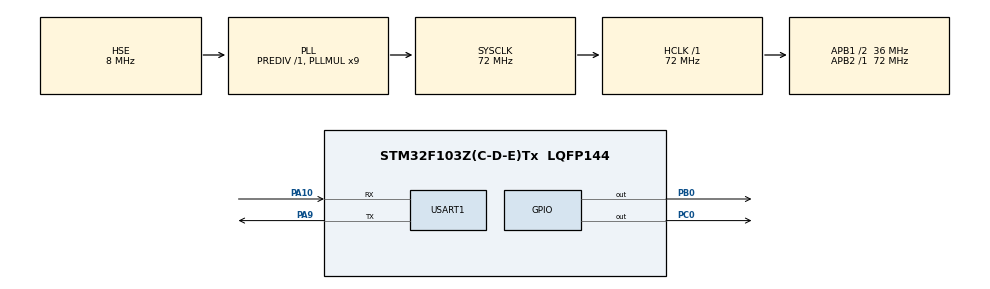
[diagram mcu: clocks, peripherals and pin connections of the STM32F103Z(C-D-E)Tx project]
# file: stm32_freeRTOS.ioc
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FREERTOS.Tasks01=defaultTask,24,128,StartDefaultTask,Default,NULL,Dynamic,NULL,NULL
Mcu.Family=STM32F1
Mcu.Name=STM32F103Z(C-D-E)Tx
Mcu.Package=LQFP144
NVIC.PriorityGroup=NVIC_PRIORITYGROUP_4
NVIC.TIM4_IRQn=true\:15\:0\:false\:false\:true\:false\:false\:true\:true
NVIC.TimeBase=TIM4_IRQn
NVIC.TimeBaseIP=TIM4
OSC_IN.Mode=HSE-External-Oscillator
OSC_IN.Signal=RCC_OSC_IN
OSC_OUT.Mode=HSE-External-Oscillator
OSC_OUT.Signal=RCC_OSC_OUT
PA10.Mode=Asynchronous
PA10.Signal=USART1_RX
PA13.Mode=Serial_Wire
PA13.Signal=SYS_JTMS-SWDIO
PA14.Mode=Serial_Wire
PA14.Signal=SYS_JTCK-SWCLK
PA9.Mode=Asynchronous
PA9.Signal=USART1_TX
PB0.GPIO_Speed=GPIO_SPEED_FREQ_MEDIUM
PB0.Signal=GPIO_Output
PC0.GPIO_Speed=GPIO_SPEED_FREQ_MEDIUM
PC0.Signal=GPIO_Output
PC14-OSC32_IN.Mode=LSE-External-Oscillator
PC14-OSC32_IN.Signal=RCC_OSC32_IN
PC15-OSC32_OUT.Mode=LSE-External-Oscillator
PC15-OSC32_OUT.Signal=RCC_OSC32_OUT
ProjectManager.HeapSize=0x200
ProjectManager.StackSize=0x400
ProjectManager.TargetToolchain=Makefile
RCC.AHBFreq_Value=72000000
RCC.APB1CLKDivider=RCC_HCLK_DIV2
RCC.APB1Freq_Value=36000000
RCC.APB1TimFreq_Value=72000000
RCC.APB2Freq_Value=72000000
RCC.APB2TimFreq_Value=72000000
RCC.HCLKFreq_Value=72000000
RCC.PLLMUL=RCC_PLL_MUL9
RCC.PLLSourceVirtual=RCC_PLLSOURCE_HSE
RCC.SYSCLKFreq_VALUE=72000000
RCC.SYSCLKSource=RCC_SYSCLKSOURCE_PLLCLK
RCC.USBFreq_Value=72000000
USART1.VirtualMode=VM_ASYNC
VP_FREERTOS_VS_CMSIS_V2.Mode=CMSIS_V2
VP_SYS_VS_tim4.Mode=TIM4
board=custom

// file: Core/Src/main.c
/* USER CODE BEGIN Header */
/**
 ******************************************************************************
 * @file           : main.c
 * @brief          : Main program body
 ******************************************************************************
 * @attention
 *
 * Copyright (c) 2022 STMicroelectronics.
 * All rights reserved.
 *
 * This software is licensed under terms that can be found in the LICENSE file
 * in the root directory of this software component.
 * If no LICENSE file comes with this software, it is provided AS-IS.
 *
 ******************************************************************************
 */
/* USER CODE END Header */
#include "main.h"
#include "cmsis_os.h"
#include "usart.h"
#include "gpio.h"

/* USER CODE BEGIN PD */
#ifdef __ARMCC_VERSION
#    define PUTCHAR_PROTOTYPE int fputc(int ch, FILE *f)
#else
#    define PUTCHAR_PROTOTYPE int __io_putchar(int ch)
#endif
/* USER CODE END PD */

void SystemClock_Config(void);
void MX_FREERTOS_Init(void);

int main(void)
{

    /* MCU Configuration--------------------------------------------------------*/

    /* Reset of all peripherals, Initializes the Flash interface and the Systick. */
    HAL_Init();

    /* Configure the system clock */
    SystemClock_Config();

    /* Initialize all configured peripherals */
    MX_GPIO_Init();
    MX_USART1_UART_Init();

    /* Init scheduler */
    osKernelInitialize(); /* Call init function for freertos objects (in freertos.c) */
    MX_FREERTOS_Init();

    /* Start scheduler */
    osKernelStart();

    /* We should never get here as control is now taken by the scheduler */
    /* Infinite loop */
    while (1) {

    }
}

void SystemClock_Config(void)
{
    RCC_OscInitTypeDef RCC_OscInitStruct = {0};
    RCC_ClkInitTypeDef RCC_ClkInitStruct = {0};

    /** Initializes the RCC Oscillators according to the specified parameters
     * in the RCC_OscInitTypeDef structure.
     */
    RCC_OscInitStruct.OscillatorType = RCC_OSCILLATORTYPE_HSE;
    RCC_OscInitStruct.HSEState = RCC_HSE_ON;
    RCC_OscInitStruct.HSEPredivValue = RCC_HSE_PREDIV_DIV1;
    RCC_OscInitStruct.HSIState = RCC_HSI_ON;
    RCC_OscInitStruct.PLL.PLLState = RCC_PLL_ON;
    RCC_OscInitStruct.PLL.PLLSource = RCC_PLLSOURCE_HSE;
    RCC_OscInitStruct.PLL.PLLMUL = RCC_PLL_MUL9;
    if (HAL_RCC_OscConfig(&RCC_OscInitStruct) != HAL_OK) {
        Error_Handler();
    }

    /** Initializes the CPU, AHB and APB buses clocks
     */
    RCC_ClkInitStruct.ClockType = RCC_CLOCKTYPE_HCLK | RCC_CLOCKTYPE_SYSCLK | RCC_CLOCKTYPE_PCLK1 | RCC_CLOCKTYPE_PCLK2;
    RCC_ClkInitStruct.SYSCLKSource = RCC_SYSCLKSOURCE_PLLCLK;
    RCC_ClkInitStruct.AHBCLKDivider = RCC_SYSCLK_DIV1;
    RCC_ClkInitStruct.APB1CLKDivider = RCC_HCLK_DIV2;
    RCC_ClkInitStruct.APB2CLKDivider = RCC_HCLK_DIV1;

    if (HAL_RCC_ClockConfig(&RCC_ClkInitStruct, FLASH_LATENCY_2) != HAL_OK) {
        Error_Handler();
    }
}

void HAL_TIM_PeriodElapsedCallback(TIM_HandleTypeDef *htim)
{
    if (htim->Instance == TIM4) {
        HAL_IncTick();
    }
}

void Error_Handler(void)
{
    __disable_irq();
    while (1) {
    }
}

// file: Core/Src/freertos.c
/* USER CODE BEGIN Header */
/**
 ******************************************************************************
 * File Name          : freertos.c
 * Description        : Code for freertos applications
 ******************************************************************************
 * @attention
 *
 * Copyright (c) 2022 STMicroelectronics.
 * All rights reserved.
 *
 * This software is licensed under terms that can be found in the LICENSE file
 * in the root directory of this software component.
 * If no LICENSE file comes with this software, it is provided AS-IS.
 *
 ******************************************************************************
 */
/* USER CODE END Header */

#include "FreeRTOS.h"
#include "task.h"
#include "main.h"
#include "cmsis_os.h"

/* USER CODE BEGIN Includes */
#include "stdio.h"
/* USER CODE END Includes */

/* Definitions for defaultTask */
osThreadId_t defaultTaskHandle;
const osThreadAttr_t defaultTask_attributes = {
    .name = "defaultTask",
    .stack_size = 128 * 4,
    .priority = (osPriority_t)osPriorityNormal,
};

/* USER CODE BEGIN FunctionPrototypes */
void vLED_1_Task(void *pvParameters);
void vLED_2_Task(void *pvParameters);

/* USER CODE END FunctionPrototypes */

void StartDefaultTask(void *argument);

void MX_FREERTOS_Init(void); /* (MISRA C 2004 rule 8.1) */

void MX_FREERTOS_Init(void)
{

    /* Create the thread(s) */
    /* creation of defaultTask */
    defaultTaskHandle = osThreadNew(StartDefaultTask, NULL, &defaultTask_attributes);

    /* USER CODE BEGIN RTOS_THREADS */
    /* add threads, ... */
    xTaskCreate(vLED_1_Task, "LED1", configMINIMAL_STACK_SIZE, NULL, tskIDLE_PRIORITY + 1, NULL);
    xTaskCreate(vLED_2_Task, "LED2", configMINIMAL_STACK_SIZE, NULL, tskIDLE_PRIORITY + 2, NULL);
    /* USER CODE END RTOS_THREADS */

}

void StartDefaultTask(void *argument)
{
    for (;;) {
        osDelay(1);
    }
}

/* USER CODE BEGIN Application */
void vLED_1_Task(void *pvParameters)
{
    while (1) {
        HAL_GPIO_WritePin(GPIOC, GPIO_PIN_0, GPIO_PIN_RESET);
        printf("LED1 ON\r\n");
        vTaskDelay(1000 / portTICK_RATE_MS);
        HAL_GPIO_WritePin(GPIOC, GPIO_PIN_0, GPIO_PIN_SET);
        printf("LED1 OFF\r\n");
        vTaskDelay(2000 / portTICK_RATE_MS);
    }
}

void vLED_2_Task(void *pvParameters)
{
    while (1) {
        HAL_GPIO_WritePin(GPIOB, GPIO_PIN_0, GPIO_PIN_SET);
        printf("LED2 OFF\r\n");
        vTaskDelay(1000 / portTICK_RATE_MS);
        HAL_GPIO_WritePin(GPIOB, GPIO_PIN_0, GPIO_PIN_RESET);
        printf("LED2 ON\r\n");
        vTaskDelay(1000 / portTICK_RATE_MS);
    }
}
/* USER CODE END Application */
